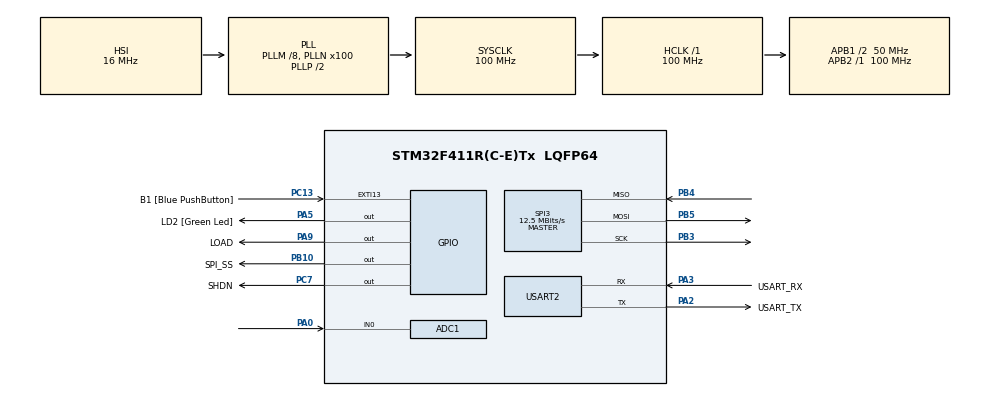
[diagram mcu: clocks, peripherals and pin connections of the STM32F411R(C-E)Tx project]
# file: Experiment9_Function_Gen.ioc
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ADC1.Channel-0\#ChannelRegularConversion=ADC_CHANNEL_0
ADC1.DMAContinuousRequests=ENABLE
ADC1.ExternalTrigConv=ADC_EXTERNALTRIGCONV_T3_TRGO
ADC1.NbrOfConversionFlag=1
ADC1.Rank-0\#ChannelRegularConversion=1
ADC1.SamplingTime-0\#ChannelRegularConversion=ADC_SAMPLETIME_3CYCLES
ADC1.ScanConvMode=ENABLE
ADC1.master=1
Dma.ADC1.0.Direction=DMA_PERIPH_TO_MEMORY
Dma.ADC1.0.FIFOMode=DMA_FIFOMODE_DISABLE
Dma.ADC1.0.Instance=DMA2_Stream0
Dma.ADC1.0.MemDataAlignment=DMA_MDATAALIGN_WORD
Dma.ADC1.0.MemInc=DMA_MINC_ENABLE
Dma.ADC1.0.Mode=DMA_CIRCULAR
Dma.ADC1.0.PeriphDataAlignment=DMA_PDATAALIGN_WORD
Dma.ADC1.0.PeriphInc=DMA_PINC_DISABLE
Dma.ADC1.0.Priority=DMA_PRIORITY_LOW
Dma.Request0=ADC1
Mcu.Family=STM32F4
Mcu.Name=STM32F411R(C-E)Tx
Mcu.Package=LQFP64
NVIC.ADC_IRQn=true\:0\:0\:false\:false\:true\:true\:true
NVIC.DMA2_Stream0_IRQn=true\:0\:0\:false\:false\:true\:false\:true
NVIC.PriorityGroup=NVIC_PRIORITYGROUP_0
NVIC.SPI3_IRQn=true\:0\:0\:false\:false\:true\:true\:true
NVIC.TIM1_TRG_COM_TIM11_IRQn=true\:0\:0\:false\:false\:true\:true\:true
PA0-WKUP.Signal=ADCx_IN0
PA13.GPIO_Label=TMS
PA13.Mode=Serial_Wire
PA13.Signal=SYS_JTMS-SWDIO
PA14.GPIO_Label=TCK
PA14.Mode=Serial_Wire
PA14.Signal=SYS_JTCK-SWCLK
PA2.GPIO_Label=USART_TX
PA2.Mode=Asynchronous
PA2.Signal=USART2_TX
PA3.GPIO_Label=USART_RX
PA3.Mode=Asynchronous
PA3.Signal=USART2_RX
PA5.GPIO_Label=LD2 [Green Led]
PA5.Signal=GPIO_Output
PA9.GPIO_Label=LOAD
PA9.Signal=GPIO_Output
PB10.GPIO_Label=SPI_SS
PB10.PinState=GPIO_PIN_SET
PB10.Signal=GPIO_Output
PB3.Mode=Full_Duplex_Master
PB3.Signal=SPI3_SCK
PB4.Mode=Full_Duplex_Master
PB4.Signal=SPI3_MISO
PB5.Mode=Full_Duplex_Master
PB5.Signal=SPI3_MOSI
PC13-ANTI_TAMP.GPIO_Label=B1 [Blue PushButton]
PC13-ANTI_TAMP.GPIO_ModeDefaultEXTI=GPIO_MODE_IT_FALLING
PC13-ANTI_TAMP.Signal=GPXTI13
PC14-OSC32_IN.Mode=LSE-External-Oscillator
PC14-OSC32_IN.Signal=RCC_OSC32_IN
PC15-OSC32_OUT.Mode=LSE-External-Oscillator
PC15-OSC32_OUT.Signal=RCC_OSC32_OUT
PC7.GPIO_Label=SHDN
PC7.PinState=GPIO_PIN_SET
PC7.Signal=GPIO_Output
PH0\ -\ OSC_IN.Mode=HSE-External-Clock-Source
PH0\ -\ OSC_IN.Signal=RCC_OSC_IN
PH1\ -\ OSC_OUT.Mode=HSE-External-Clock-Source
PH1\ -\ OSC_OUT.Signal=RCC_OSC_OUT
ProjectManager.HeapSize=0x200
ProjectManager.StackSize=0x400
ProjectManager.TargetToolchain=STM32CubeIDE
RCC.48MHZClocksFreq_Value=50000000
RCC.AHBFreq_Value=100000000
RCC.APB1CLKDivider=RCC_HCLK_DIV2
RCC.APB1Freq_Value=50000000
RCC.APB1TimFreq_Value=100000000
RCC.APB2Freq_Value=100000000
RCC.APB2TimFreq_Value=100000000
RCC.CortexFreq_Value=100000000
RCC.FLatency-AdvancedSettings=FLASH_LATENCY_3
RCC.HCLKFreq_Value=100000000
RCC.HSE_VALUE=8000000
RCC.HSI_VALUE=16000000
RCC.PLLM=8
RCC.PLLN=100
RCC.SYSCLKFreq_VALUE=100000000
RCC.SYSCLKSource=RCC_SYSCLKSOURCE_PLLCLK
RCC.VCOOutputFreq_Value=200000000
SH.ADCx_IN0.0=ADC1_IN0,IN0
SPI3.BaudRatePrescaler=SPI_BAUDRATEPRESCALER_4
SPI3.CalculateBaudRate=12.5 MBits/s
SPI3.DataSize=SPI_DATASIZE_16BIT
SPI3.Direction=SPI_DIRECTION_2LINES
SPI3.Mode=SPI_MODE_MASTER
SPI3.VirtualType=VM_MASTER
TIM11.Prescaler=99
TIM3.Period=100
TIM3.Prescaler=99
TIM3.TIM_MasterOutputTrigger=TIM_TRGO_UPDATE
USART2.VirtualMode=VM_ASYNC
VP_TIM11_VS_ClockSourceINT.Mode=Enable_Timer
VP_TIM3_VS_ClockSourceINT.Mode=Internal
board=NUCLEO-F411RE

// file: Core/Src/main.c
/* USER CODE BEGIN Header */
/**
  ******************************************************************************
  * @file           : main.c
  * @brief          : Main program body
  ******************************************************************************
  * @attention
  *
  * Copyright (c) 2022 STMicroelectronics.
  * All rights reserved.
  *
  * This software is licensed under terms that can be found in the LICENSE file
  * in the root directory of this software component.
  * If no LICENSE file comes with this software, it is provided AS-IS.
  *
  ******************************************************************************
  */
/* USER CODE END Header */
#include "main.h"

/* USER CODE BEGIN Includes */

#include <math.h>
#include <stdio.h>

/* USER CODE END Includes */

ADC_HandleTypeDef hadc1;
DMA_HandleTypeDef hdma_adc1;

SPI_HandleTypeDef hspi3;

TIM_HandleTypeDef htim3;
TIM_HandleTypeDef htim11;

UART_HandleTypeDef huart2;

/* USER CODE BEGIN PV */

uint16_t ADCin = 0;						// ADC input from outside
uint64_t _micro = 0;					// Timer count
uint16_t dataOut = 0;					// for receive value from sawtooth,sawtoothinvert,sinewave and squarewave and enter value to MCP4922SetOutput
uint16_t dataOutSawtooth = 0;			// DAC output Sawtooth wave
uint16_t dataOutSawtoothinvert = 0;		// DAC output Sawtooth invert wave
uint16_t dataOutSineWave = 0;			// DAC output Sine wave
uint16_t dataOutSquareWave = 0;			// DAC output Square wave
uint8_t DACConfig = 0b0011;				// Data 4 bit in front of (Selection bit, Input Buffer Control bit, Output Gain Selection bit and Output Shutdown Control Bit)

// Time
uint16_t SamplingTime = 100;
float deltaT = 1;

// Other
float PI = 3.14159265;

/* USER CODE END PV */

void SystemClock_Config(void);
static void MX_GPIO_Init(void);
static void MX_USART2_UART_Init(void);
static void MX_ADC1_Init(void);
static void MX_SPI3_Init(void);
static void MX_TIM3_Init(void);
static void MX_DMA_Init(void);
static void MX_TIM11_Init(void);

/* USER CODE BEGIN PFP */

// Generate Signal
void GenerateSawtooth();
void GenerateSawtoothinvert();
void GenerateSineWave();
void GenerateSquareWave();

// Merge output
void MCP4922SetOutput(uint8_t Config, uint16_t DACOutput);

// Time
uint64_t micros();

// Other

/* USER CODE END PFP */

int main(void)
{

  /* MCU Configuration--------------------------------------------------------*/

  /* Reset of all peripherals, Initializes the Flash interface and the Systick. */
  HAL_Init();

  /* Configure the system clock */
  SystemClock_Config();

  /* Initialize all configured peripherals */
  MX_GPIO_Init();
  MX_USART2_UART_Init();
  MX_ADC1_Init();
  MX_SPI3_Init();
  MX_TIM3_Init();
  MX_DMA_Init();
  MX_TIM11_Init();

  /* USER CODE BEGIN 2 */

  HAL_TIM_Base_Start(&htim3);		// start use timer3 to count Sampling ADC
  HAL_TIM_Base_Start_IT(&htim11);	// start use timer11 to count Microsecond and open interrupt to use callBack function
  HAL_ADC_Start_DMA(&hadc1, (uint32_t*) &ADCin, 1);		// Start to request value form ADC by using DMA to ask

  HAL_GPIO_WritePin(LOAD_GPIO_Port, LOAD_Pin, GPIO_PIN_RESET);

  /* USER CODE END 2 */

  /* Infinite loop */
  /* USER CODE BEGIN WHILE */
  while (1)
  {

	  static uint64_t timestamp = 0;
	  if (micros() - timestamp > SamplingTime){		//	run this function every 10ms
		  timestamp = micros();

		  // Equation for signal
//		  GenerateSawtooth();
//		  GenerateSawtoothinvert();
		  GenerateSineWave();

		  if (hspi3.State == HAL_SPI_STATE_READY && HAL_GPIO_ReadPin(SPI_SS_GPIO_Port, SPI_SS_Pin) == GPIO_PIN_SET){
			  // function for combined 4bit and 12bit to 16 bit and send to MCP4922
			  MCP4922SetOutput(DACConfig, dataOut);
		  }
	  }

    /* USER CODE END WHILE */

  }
}

void SystemClock_Config(void)
{
  RCC_OscInitTypeDef RCC_OscInitStruct = {0};
  RCC_ClkInitTypeDef RCC_ClkInitStruct = {0};

  /** Configure the main internal regulator output voltage
  */
  __HAL_RCC_PWR_CLK_ENABLE();
  __HAL_PWR_VOLTAGESCALING_CONFIG(PWR_REGULATOR_VOLTAGE_SCALE1);
  /** Initializes the RCC Oscillators according to the specified parameters
  * in the RCC_OscInitTypeDef structure.
  */
  RCC_OscInitStruct.OscillatorType = RCC_OSCILLATORTYPE_HSI;
  RCC_OscInitStruct.HSIState = RCC_HSI_ON;
  RCC_OscInitStruct.HSICalibrationValue = RCC_HSICALIBRATION_DEFAULT;
  RCC_OscInitStruct.PLL.PLLState = RCC_PLL_ON;
  RCC_OscInitStruct.PLL.PLLSource = RCC_PLLSOURCE_HSI;
  RCC_OscInitStruct.PLL.PLLM = 8;
  RCC_OscInitStruct.PLL.PLLN = 100;
  RCC_OscInitStruct.PLL.PLLP = RCC_PLLP_DIV2;
  RCC_OscInitStruct.PLL.PLLQ = 4;
  if (HAL_RCC_OscConfig(&RCC_OscInitStruct) != HAL_OK)
  {
    Error_Handler();
  }
  /** Initializes the CPU, AHB and APB buses clocks
  */
  RCC_ClkInitStruct.ClockType = RCC_CLOCKTYPE_HCLK|RCC_CLOCKTYPE_SYSCLK
                              |RCC_CLOCKTYPE_PCLK1|RCC_CLOCKTYPE_PCLK2;
  RCC_ClkInitStruct.SYSCLKSource = RCC_SYSCLKSOURCE_PLLCLK;
  RCC_ClkInitStruct.AHBCLKDivider = RCC_SYSCLK_DIV1;
  RCC_ClkInitStruct.APB1CLKDivider = RCC_HCLK_DIV2;
  RCC_ClkInitStruct.APB2CLKDivider = RCC_HCLK_DIV1;

  if (HAL_RCC_ClockConfig(&RCC_ClkInitStruct, FLASH_LATENCY_3) != HAL_OK)
  {
    Error_Handler();
  }
}

static void MX_ADC1_Init(void)
{

  ADC_ChannelConfTypeDef sConfig = {0};

  /** Configure the global features of the ADC (Clock, Resolution, Data Alignment and number of conversion)
  */
  hadc1.Instance = ADC1;
  hadc1.Init.ClockPrescaler = ADC_CLOCK_SYNC_PCLK_DIV4;
  hadc1.Init.Resolution = ADC_RESOLUTION_12B;
  hadc1.Init.ScanConvMode = ENABLE;
  hadc1.Init.ContinuousConvMode = DISABLE;
  hadc1.Init.DiscontinuousConvMode = DISABLE;
  hadc1.Init.ExternalTrigConvEdge = ADC_EXTERNALTRIGCONVEDGE_RISING;
  hadc1.Init.ExternalTrigConv = ADC_EXTERNALTRIGCONV_T3_TRGO;
  hadc1.Init.DataAlign = ADC_DATAALIGN_RIGHT;
  hadc1.Init.NbrOfConversion = 1;
  hadc1.Init.DMAContinuousRequests = ENABLE;
  hadc1.Init.EOCSelection = ADC_EOC_SINGLE_CONV;
  if (HAL_ADC_Init(&hadc1) != HAL_OK)
  {
    Error_Handler();
  }
  /** Configure for the selected ADC regular channel its corresponding rank in the sequencer and its sample time.
  */
  sConfig.Channel = ADC_CHANNEL_0;
  sConfig.Rank = 1;
  sConfig.SamplingTime = ADC_SAMPLETIME_3CYCLES;
  if (HAL_ADC_ConfigChannel(&hadc1, &sConfig) != HAL_OK)
  {
    Error_Handler();
  }

}

static void MX_SPI3_Init(void)
{

  /* SPI3 parameter configuration*/
  hspi3.Instance = SPI3;
  hspi3.Init.Mode = SPI_MODE_MASTER;
  hspi3.Init.Direction = SPI_DIRECTION_2LINES;
  hspi3.Init.DataSize = SPI_DATASIZE_16BIT;
  hspi3.Init.CLKPolarity = SPI_POLARITY_LOW;
  hspi3.Init.CLKPhase = SPI_PHASE_1EDGE;
  hspi3.Init.NSS = SPI_NSS_SOFT;
  hspi3.Init.BaudRatePrescaler = SPI_BAUDRATEPRESCALER_4;
  hspi3.Init.FirstBit = SPI_FIRSTBIT_MSB;
  hspi3.Init.TIMode = SPI_TIMODE_DISABLE;
  hspi3.Init.CRCCalculation = SPI_CRCCALCULATION_DISABLE;
  hspi3.Init.CRCPolynomial = 10;
  if (HAL_SPI_Init(&hspi3) != HAL_OK)
  {
    Error_Handler();
  }

}

static void MX_TIM3_Init(void)
{

  TIM_ClockConfigTypeDef sClockSourceConfig = {0};
  TIM_MasterConfigTypeDef sMasterConfig = {0};

  htim3.Instance = TIM3;
  htim3.Init.Prescaler = 99;
  htim3.Init.CounterMode = TIM_COUNTERMODE_UP;
  htim3.Init.Period = 100;
  htim3.Init.ClockDivision = TIM_CLOCKDIVISION_DIV1;
  htim3.Init.AutoReloadPreload = TIM_AUTORELOAD_PRELOAD_DISABLE;
  if (HAL_TIM_Base_Init(&htim3) != HAL_OK)
  {
    Error_Handler();
  }
  sClockSourceConfig.ClockSource = TIM_CLOCKSOURCE_INTERNAL;
  if (HAL_TIM_ConfigClockSource(&htim3, &sClockSourceConfig) != HAL_OK)
  {
    Error_Handler();
  }
  sMasterConfig.MasterOutputTrigger = TIM_TRGO_UPDATE;
  sMasterConfig.MasterSlaveMode = TIM_MASTERSLAVEMODE_DISABLE;
  if (HAL_TIMEx_MasterConfigSynchronization(&htim3, &sMasterConfig) != HAL_OK)
  {
    Error_Handler();
  }

}

static void MX_TIM11_Init(void)
{

  htim11.Instance = TIM11;
  htim11.Init.Prescaler = 99;
  htim11.Init.CounterMode = TIM_COUNTERMODE_UP;
  htim11.Init.Period = 65535;
  htim11.Init.ClockDivision = TIM_CLOCKDIVISION_DIV1;
  htim11.Init.AutoReloadPreload = TIM_AUTORELOAD_PRELOAD_DISABLE;
  if (HAL_TIM_Base_Init(&htim11) != HAL_OK)
  {
    Error_Handler();
  }

}

static void MX_USART2_UART_Init(void)
{

  huart2.Instance = USART2;
  huart2.Init.BaudRate = 115200;
  huart2.Init.WordLength = UART_WORDLENGTH_8B;
  huart2.Init.StopBits = UART_STOPBITS_1;
  huart2.Init.Parity = UART_PARITY_NONE;
  huart2.Init.Mode = UART_MODE_TX_RX;
  huart2.Init.HwFlowCtl = UART_HWCONTROL_NONE;
  huart2.Init.OverSampling = UART_OVERSAMPLING_16;
  if (HAL_UART_Init(&huart2) != HAL_OK)
  {
    Error_Handler();
  }

}

static void MX_DMA_Init(void)
{

  /* DMA controller clock enable */
  __HAL_RCC_DMA2_CLK_ENABLE();

  /* DMA interrupt init */
  /* DMA2_Stream0_IRQn interrupt configuration */
  HAL_NVIC_SetPriority(DMA2_Stream0_IRQn, 0, 0);
  HAL_NVIC_EnableIRQ(DMA2_Stream0_IRQn);

}

static void MX_GPIO_Init(void)
{
  GPIO_InitTypeDef GPIO_InitStruct = {0};

  /* GPIO Ports Clock Enable */
  __HAL_RCC_GPIOC_CLK_ENABLE();
  __HAL_RCC_GPIOH_CLK_ENABLE();
  __HAL_RCC_GPIOA_CLK_ENABLE();
  __HAL_RCC_GPIOB_CLK_ENABLE();

  /*Configure GPIO pin Output Level */
  HAL_GPIO_WritePin(GPIOA, LD2_Pin|LOAD_Pin, GPIO_PIN_RESET);

  /*Configure GPIO pin Output Level */
  HAL_GPIO_WritePin(SPI_SS_GPIO_Port, SPI_SS_Pin, GPIO_PIN_SET);

  /*Configure GPIO pin Output Level */
  HAL_GPIO_WritePin(SHDN_GPIO_Port, SHDN_Pin, GPIO_PIN_SET);

  /*Configure GPIO pin : B1_Pin */
  GPIO_InitStruct.Pin = B1_Pin;
  GPIO_InitStruct.Mode = GPIO_MODE_IT_FALLING;
  GPIO_InitStruct.Pull = GPIO_NOPULL;
  HAL_GPIO_Init(B1_GPIO_Port, &GPIO_InitStruct);

  /*Configure GPIO pins : LD2_Pin LOAD_Pin */
  GPIO_InitStruct.Pin = LD2_Pin|LOAD_Pin;
  GPIO_InitStruct.Mode = GPIO_MODE_OUTPUT_PP;
  GPIO_InitStruct.Pull = GPIO_NOPULL;
  GPIO_InitStruct.Speed = GPIO_SPEED_FREQ_LOW;
  HAL_GPIO_Init(GPIOA, &GPIO_InitStruct);

  /*Configure GPIO pin : SPI_SS_Pin */
  GPIO_InitStruct.Pin = SPI_SS_Pin;
  GPIO_InitStruct.Mode = GPIO_MODE_OUTPUT_PP;
  GPIO_InitStruct.Pull = GPIO_NOPULL;
  GPIO_InitStruct.Speed = GPIO_SPEED_FREQ_LOW;
  HAL_GPIO_Init(SPI_SS_GPIO_Port, &GPIO_InitStruct);

  /*Configure GPIO pin : SHDN_Pin */
  GPIO_InitStruct.Pin = SHDN_Pin;
  GPIO_InitStruct.Mode = GPIO_MODE_OUTPUT_PP;
  GPIO_InitStruct.Pull = GPIO_NOPULL;
  GPIO_InitStruct.Speed = GPIO_SPEED_FREQ_LOW;
  HAL_GPIO_Init(SHDN_GPIO_Port, &GPIO_InitStruct);

}

/* USER CODE BEGIN 4 */

void GenerateSawtooth(){
//	dataOut++;
	dataOut+=0.5;
	dataOut %= 4096;
}

void GenerateSawtoothinvert(){
	static uint16_t dataOutInvert = 4095;
	dataOut = dataOutInvert;
//	dataOutInvert--;
	dataOutInvert-=0.5;
	if(dataOutInvert == 0){
		dataOutInvert = 4095;
	}
}

void GenerateSineWave(){

//	static float x = -3.14;
	if (PI >= -3.14159265 && PI <= 3.14159265){
		dataOut = (sin(PI)*deltaT);
		x+=0.1;
	}
	else{
		PI = -3.14159265;
	}

//	// Another equation of sine wave generate
//	static uint8_t i=0;
//	dataOut = ((sin(i*2*3.14/100) + 1)*(4096/2));
//	i++;
//	if(i == 100){
//		i = 0;
//	}

}

void GenerateSquareWave(){

}

void MCP4922SetOutput(uint8_t Config, uint16_t DACOutput){
	uint32_t OutputPacket = (DACOutput & 0x0fff)|((Config & 0xf) << 12);	// bitwise Operation to merge the DACConfig and dataOutput
	HAL_GPIO_WritePin(SPI_SS_GPIO_Port, SPI_SS_Pin, GPIO_PIN_RESET);		// write pin cs(invert) to low for select chip and input value in
	HAL_SPI_Transmit_IT(&hspi3, &OutputPacket, 1);		// Send from nucleo to windows
}

void HAL_SPI_TxCpltCallback(SPI_HandleTypeDef *hspi){
	if (hspi == &hspi3){
		HAL_GPIO_WritePin(SPI_SS_GPIO_Port, SPI_SS_Pin, GPIO_PIN_SET);		// after send all value in OutputPacket write pin cs(invert) to high for don't get any value in
	}
}

void HAL_TIM_PeriodElapsedCallback(TIM_HandleTypeDef * htim){
	if(htim == &htim11){
		_micro += 65535;
	}
}

inline uint64_t micros(){
	return htim11.Instance -> CNT + _micro;
}

/* USER CODE END 4 */

void Error_Handler(void)
{
  __disable_irq();
  while (1)
  {
  }
}
